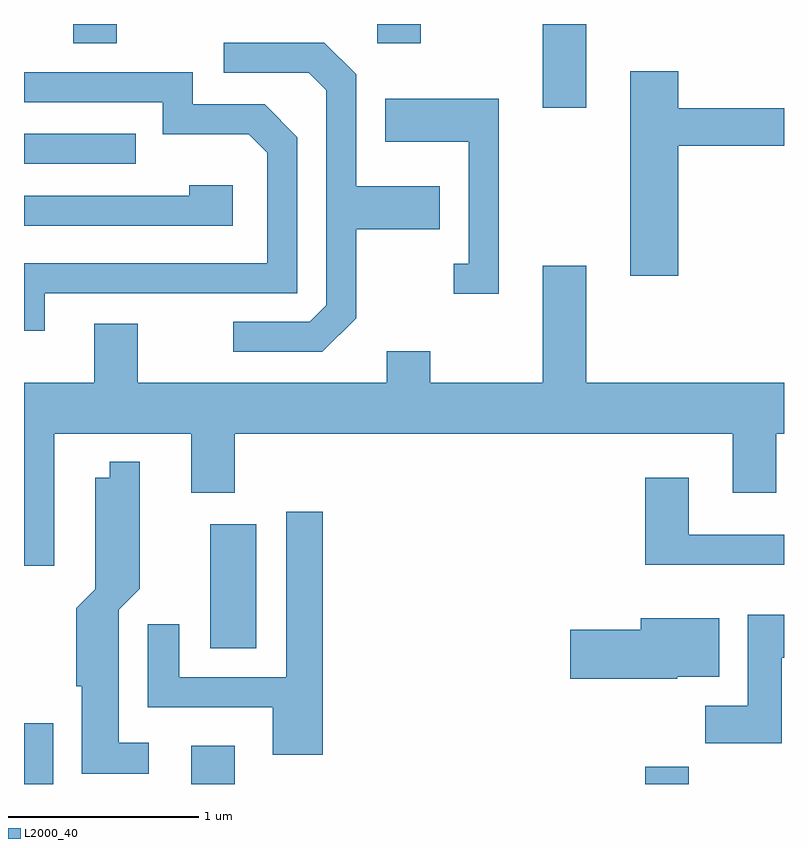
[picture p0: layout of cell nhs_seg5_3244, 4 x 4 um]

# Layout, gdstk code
import gdstk
lib = gdstk.Library(unit=1e-6, precision=1e-09)
def R(c, l, rs):  # rectangles x0, y0, x1, y1
    for r in rs: c.add(gdstk.rectangle(r[:2], r[2:], *l))
def P(c, l, *ps):  # polygons
    for p in ps: c.add(gdstk.Polygon(p, *l))
L2000_40 = (2000, 40)

nhs_seg5_3244 = lib.new_cell('nhs_seg5_3244')
R(nhs_seg5_3244, L2000_40, [(281.611,1446.072,281.764,1446.393), (282.491,1446.072,282.719,1446.274), (284.881,1446.072,285.109,1446.164), (282.591,1446.786,282.834,1447.439), (281.611,1449.336,282.198,1449.494), (284.341,1449.631,284.569,1450.072), (281.871,1449.971,282.099,1450.072), (283.471,1449.971,283.699,1450.072)])
P(nhs_seg5_3244, L2000_40, [(283.359,1448.524),(283.359,1448.991),(283.799,1448.991),(283.799,1449.219),(283.359,1449.219),(283.359,1449.807),(283.192,1449.974),(282.663,1449.974),(282.663,1449.816),(283.109,1449.816),(283.201,1449.724),(283.201,1448.592),(283.114,1448.504),(282.713,1448.504),(282.713,1448.346),(283.182,1448.346)],
  [(285.054,1449.431),(285.611,1449.431),(285.611,1449.629),(285.054,1449.629),(285.054,1449.824),(284.801,1449.824),(284.801,1448.746),(285.054,1448.746)],
  [(281.719,1448.656),(283.049,1448.656),(283.049,1449.477),(282.877,1449.649),(282.499,1449.649),(282.499,1449.819),(281.611,1449.819),(281.611,1449.661),(282.341,1449.661),(282.341,1449.491),(282.794,1449.491),(282.891,1449.394),(282.891,1448.814),(281.611,1448.814),(281.611,1448.458),(281.719,1448.458)],
  [(284.109,1449.679),(283.511,1449.679),(283.511,1449.451),(283.951,1449.451),(283.951,1448.809),(283.873,1448.809),(283.873,1448.651),(284.109,1448.651)],
  [(282.709,1449.224),(282.481,1449.224),(282.481,1449.169),(281.611,1449.169),(281.611,1449.011),(282.709,1449.011)],
  [(281.769,1447.916),(282.491,1447.916),(282.491,1447.606),(282.719,1447.606),(282.719,1447.916),(285.341,1447.916),(285.341,1447.606),(285.569,1447.606),(285.569,1447.916),(285.611,1447.916),(285.611,1448.184),(284.569,1448.184),(284.569,1448.799),(284.341,1448.799),(284.341,1448.184),(283.749,1448.184),(283.749,1448.349),(283.521,1448.349),(283.521,1448.184),(282.209,1448.184),(282.209,1448.494),(281.981,1448.494),(281.981,1448.184),(281.611,1448.184),(281.611,1447.221),(281.769,1447.221)],
  [(282.268,1446.289),(282.109,1446.289),(282.109,1446.989),(282.219,1447.099),(282.219,1447.768),(282.061,1447.768),(282.061,1447.684),(281.986,1447.684),(281.986,1447.097),(281.886,1446.997),(281.886,1446.586),(281.916,1446.586),(281.916,1446.126),(282.268,1446.126)],
  [(285.611,1447.384),(285.109,1447.384),(285.109,1447.684),(284.881,1447.684),(284.881,1447.226),(285.611,1447.226)],
  [(283.184,1447.504),(282.991,1447.504),(282.991,1446.634),(282.429,1446.634),(282.429,1446.913),(282.261,1446.913),(282.261,1446.476),(282.921,1446.476),(282.921,1446.226),(283.184,1446.226)],
  [(285.599,1446.736),(285.611,1446.736),(285.611,1446.964),(285.421,1446.964),(285.421,1446.484),(285.196,1446.484),(285.196,1446.286),(285.599,1446.286)],
  [(285.05,1446.636),(285.269,1446.636),(285.269,1446.944),(284.856,1446.944),(284.856,1446.884),(284.486,1446.884),(284.486,1446.626),(285.05,1446.626)])

lib.write_gds('nhs_seg5_3244.gds')
